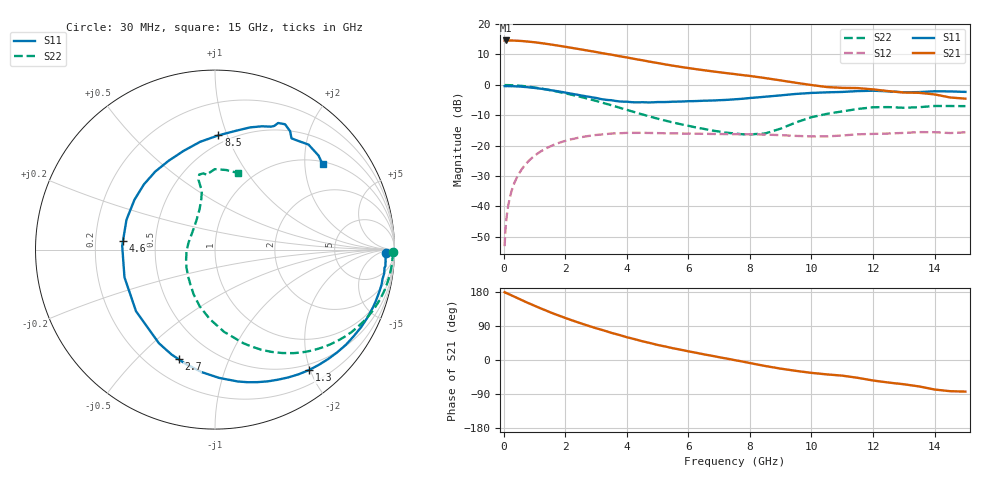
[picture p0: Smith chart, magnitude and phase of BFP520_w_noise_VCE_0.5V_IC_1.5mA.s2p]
! Infineon Technologies  Discrete & RF Semiconductors
! BFP520
! VCE =  0.5 V,  IC =  1.5 mA
! Common Emitter S-Parameters:  Oct 2015
# GHz  S  MA  R  50
!  f  S11  S21  S12  S22
! GHz  MAG  ANG  MAG  ANG  MAG  ANG  MAG  ANG
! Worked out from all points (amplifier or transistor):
!   109 points, 30 MHz to 15 GHz, reference 50 ohm
!   highest |S21| = 14.6 dB at 70 MHz (marker M1)
!   |S21| within 3 dB of that: start of sweep to 2.536 GHz
!   unconditionally stable (mu >= 1): 5.152 GHz to end of sweep
!   at 450 MHz: K = 0.04, MSG = 22.3 dB, |S12| = -30.1 dB
!   at 4 GHz: K = 0.74, MSG = 12.4 dB, |S12| = -15.8 dB
!   at 15 GHz: K = 1.84, MAG = 0.3 dB, |S12| = -15.7 dB
!   lowest NFmin = 0.90 dB at 900 MHz
!   S11 on the Smith chart (normalised r, x): 30 MHz: 35, -14; 1.3 GHz: 0.41, -1.98; 2.7 GHz: 0.32, -0.67; 4.6 GHz: 0.32, +0.04; 8.5 GHz: 0.43, +0.93; 15 GHz: 1.07, +2.46
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0.03  0.9516 -1.1  5.367 178.9  0.0022 89.1  0.9899 -0.9
0.07  0.9523 -2.8  5.381 177.0  0.0049 87.4  0.9903 -2.0
0.2  0.9519 -8.0  5.379 172.6  0.0139 85.5  0.9872 -5.8
0.45  0.9405 -18.0  5.317 163.2  0.0313 79.3  0.9725 -13.1
0.8  0.9111 -32.0  5.145 150.2  0.055 70.5  0.9335 -23.0
1.1  0.8772 -44.0  4.953 139.7  0.0738 63.0  0.8882 -31.2
1.3  0.8512 -52.1  4.803 133.0  0.0855 58.1  0.8537 -36.3
1.6  0.805 -64.2  4.565 123.1  0.1012 51.1  0.7985 -43.7
2  0.746 -80.1  4.24 111.0  0.1191 42.2  0.725 -52.7
2.6  0.6575 -104.4  3.763 94.2  0.1395 30.1  0.6146 -65.2
2.7  0.6435 -108.4  3.686 91.6  0.1421 28.2  0.5964 -67.1
3  0.608 -120.9  3.475 83.8  0.1493 22.8  0.5436 -73.3
3.5  0.5582 -142.0  3.14 71.6  0.1577 14.2  0.4612 -83.7
4  0.5274 -163.0  2.827 60.1  0.1616 6.4  0.387 -94.5
4.6  0.5147 174.4  2.485 47.7  0.1616 -1.4  0.3157 -107.0
5.1  0.5197 158.7  2.239 38.1  0.1599 -6.7  0.2692 -117.0
6.1  0.5382 135.4  1.858 21.4  0.157 -15.0  0.2061 -137.3
7.6  0.5816 105.6  1.481 -1.7  0.1539 -25.1  0.1561 179.3
8.5  0.6367 88.3  1.291 -15.9  0.1515 -31.1  0.1583 143.4
10.5  0.7521 65.6  0.92 -38.0  0.1413 -37.2  0.3324 102.7
13  0.7524 55.5  0.748 -64.0  0.1615 -48.8  0.4186 95.9
15  0.7648 38.4  0.592 -83.4  0.165 -60.5  0.4457 73.5
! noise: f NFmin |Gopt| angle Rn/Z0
0.45  0.92  0.73  5  0.48
0.9  0.9  0.68  14  0.49
1.9  1.25  0.56  30  0.4
2.4  1.37  0.51  42  0.39
3.5  1.35  0.5  67  0.34
